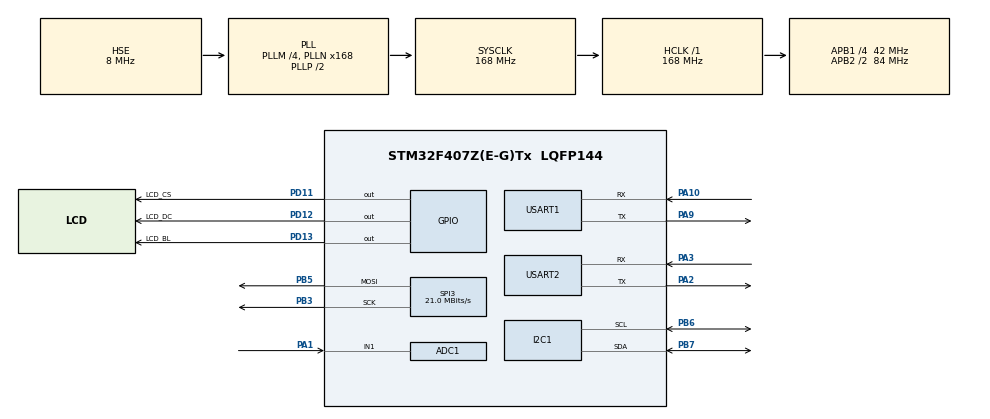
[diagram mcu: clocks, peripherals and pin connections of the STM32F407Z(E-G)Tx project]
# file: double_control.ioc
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ADC1.Channel-0\#ChannelRegularConversion=ADC_CHANNEL_1
ADC1.ContinuousConvMode=DISABLE
ADC1.NbrOfConversionFlag=1
ADC1.Rank-0\#ChannelRegularConversion=1
ADC1.SamplingTime-0\#ChannelRegularConversion=ADC_SAMPLETIME_144CYCLES
ADC1.master=1
Dma.Request0=USART2_RX
Dma.USART2_RX.0.Direction=DMA_PERIPH_TO_MEMORY
Dma.USART2_RX.0.FIFOMode=DMA_FIFOMODE_DISABLE
Dma.USART2_RX.0.Instance=DMA1_Stream5
Dma.USART2_RX.0.MemDataAlignment=DMA_MDATAALIGN_BYTE
Dma.USART2_RX.0.MemInc=DMA_MINC_ENABLE
Dma.USART2_RX.0.Mode=DMA_NORMAL
Dma.USART2_RX.0.PeriphDataAlignment=DMA_PDATAALIGN_BYTE
Dma.USART2_RX.0.PeriphInc=DMA_PINC_DISABLE
Dma.USART2_RX.0.Priority=DMA_PRIORITY_LOW
Mcu.Family=STM32F4
Mcu.Name=STM32F407Z(E-G)Tx
Mcu.Package=LQFP144
NVIC.DMA1_Stream5_IRQn=true\:0\:0\:false\:false\:true\:false\:true\:true
NVIC.PriorityGroup=NVIC_PRIORITYGROUP_4
NVIC.USART2_IRQn=true\:0\:0\:false\:false\:true\:true\:true\:true
PA1.Signal=ADCx_IN1
PA10.Mode=Asynchronous
PA10.Signal=USART1_RX
PA13.Mode=Serial_Wire
PA13.Signal=SYS_JTMS-SWDIO
PA14.Mode=Serial_Wire
PA14.Signal=SYS_JTCK-SWCLK
PA2.Mode=Asynchronous
PA2.Signal=USART2_TX
PA3.Mode=Asynchronous
PA3.Signal=USART2_RX
PA9.Mode=Asynchronous
PA9.Signal=USART1_TX
PB3.Mode=TX_Only_Simplex_Unidirect_Master
PB3.Signal=SPI3_SCK
PB5.Mode=TX_Only_Simplex_Unidirect_Master
PB5.Signal=SPI3_MOSI
PB6.Mode=I2C
PB6.Signal=I2C1_SCL
PB7.Mode=I2C
PB7.Signal=I2C1_SDA
PD11.GPIO_Label=LCD_CS
PD11.Signal=GPIO_Output
PD12.GPIO_Label=LCD_DC
PD12.Signal=GPIO_Output
PD13.GPIO_Label=LCD_BL
PD13.Signal=GPIO_Output
PH0-OSC_IN.Mode=HSE-External-Oscillator
PH0-OSC_IN.Signal=RCC_OSC_IN
PH1-OSC_OUT.Mode=HSE-External-Oscillator
PH1-OSC_OUT.Signal=RCC_OSC_OUT
ProjectManager.HeapSize=0x200
ProjectManager.StackSize=0x400
ProjectManager.TargetToolchain=STM32CubeIDE
RCC.48MHZClocksFreq_Value=84000000
RCC.AHBFreq_Value=168000000
RCC.APB1CLKDivider=RCC_HCLK_DIV4
RCC.APB1Freq_Value=42000000
RCC.APB1TimFreq_Value=84000000
RCC.APB2CLKDivider=RCC_HCLK_DIV2
RCC.APB2Freq_Value=84000000
RCC.APB2TimFreq_Value=168000000
RCC.CortexFreq_Value=168000000
RCC.HCLKFreq_Value=168000000
RCC.HSE_VALUE=8000000
RCC.HSI_VALUE=16000000
RCC.LSE_VALUE=32768
RCC.PLLM=4
RCC.PLLN=168
RCC.PLLSourceVirtual=RCC_PLLSOURCE_HSE
RCC.SYSCLKFreq_VALUE=168000000
RCC.SYSCLKSource=RCC_SYSCLKSOURCE_PLLCLK
RCC.VCOOutputFreq_Value=336000000
SH.ADCx_IN1.0=ADC1_IN1,IN1
SPI3.CalculateBaudRate=21.0 MBits/s
SPI3.Direction=SPI_DIRECTION_2LINES
SPI3.Mode=SPI_MODE_MASTER
SPI3.VirtualType=VM_MASTER
USART1.VirtualMode=VM_ASYNC
USART2.VirtualMode=VM_ASYNC
board=custom

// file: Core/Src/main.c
/* USER CODE BEGIN Header */
/**
  ******************************************************************************
  * @file           : main.c
  * @brief          : Main program body
  ******************************************************************************
  * @attention
  *
  * Copyright (c) 2026 STMicroelectronics.
  * All rights reserved.
  *
  * This software is licensed under terms that can be found in the LICENSE file
  * in the root directory of this software component.
  * If no LICENSE file comes with this software, it is provided AS-IS.
  *
  ******************************************************************************
  */
/* USER CODE END Header */
#include "main.h"

/* USER CODE BEGIN Includes */

#include "lcd_spi_154.h"
#include "pca9685.h"
#include "pwm_timing.h"
#include "truck_control.h"
#include "truck_receiver.h"

#include <stdio.h>
#include <string.h>

/* USER CODE END Includes */

/* USER CODE BEGIN PD */

#define USART2_DMA_RX_SIZE 256U
#define STATUS_TX_BUFFER_SIZE 512U
#define CONTROL_STATUS_PERIOD_MS 100U
#define ADC_SAMPLE_PERIOD_MS 20U
#define ADC_CONVERSION_TIMEOUT_MS 5U
#define ADC_REFERENCE_MV 3300U
#define ADC_FULL_SCALE_COUNT 4095U
#define STEERING_CENTER_MV 1630
#define STEERING_MIN_ANGLE_TENTHS (-300)
#define STEERING_MAX_ANGLE_TENTHS 300
#define TFT_ROW_UPDATE_PERIOD_MS 50U
#define TFT_LINE_CHARS 30U
#define TRUCK_FIRMWARE_ID "double-control-zgt6-tft-1"

/* USER CODE END PD */

ADC_HandleTypeDef hadc1;

I2C_HandleTypeDef hi2c1;

SPI_HandleTypeDef hspi3;

UART_HandleTypeDef huart1;
UART_HandleTypeDef huart2;
DMA_HandleTypeDef hdma_usart2_rx;

/* USER CODE BEGIN PV */

static uint8_t usart2_dma_rx[USART2_DMA_RX_SIZE];
static TruckReceiver truck_receiver;
static TruckCommand latest_command;
static TruckOutputs requested_outputs;
static TruckOutputs truck_outputs;
static TruckEscController drive_esc;
static uint8_t pca9685_ready;
static uint8_t control_received;
static uint8_t control_failsafe_active;
static uint8_t system_ready;
static uint8_t usart2_rx_ready;
static uint8_t last_json_valid;
static uint8_t last_rx_field_mask;
static uint8_t pca_pwm_cache_valid;
static uint8_t adc_conversion_active;
static uint8_t steering_feedback_valid;
static uint8_t button_override_active;
static uint8_t tft_ready;
static uint8_t tft_next_row;
static uint16_t pca_pwm_cache[TRUCK_OUTPUT_CHANNELS];
static uint16_t steering_adc_raw;
static uint16_t steering_voltage_mv;
static int16_t vehicle_steering_angle_tenths;
static HAL_StatusTypeDef last_control_i2c_status = HAL_ERROR;
static uint32_t last_valid_control_tick;
static uint32_t last_periodic_status_tick;
static uint32_t valid_frame_count;
static uint32_t invalid_frame_count;
static uint32_t last_adc_sample_tick;
static uint32_t last_adc_start_tick;
static uint32_t button_override_tick;
static uint32_t last_tft_update_tick;
static volatile uint8_t usart2_restart_requested;
static volatile uint8_t usart2_tx_busy;
static char status_tx_buffer[STATUS_TX_BUFFER_SIZE];

/* USER CODE END PV */

void SystemClock_Config(void);
static void MX_GPIO_Init(void);
static void MX_DMA_Init(void);
static void MX_I2C1_Init(void);
static void MX_USART1_UART_Init(void);
static void MX_USART2_UART_Init(void);
static void MX_ADC1_Init(void);
static void MX_SPI3_Init(void);
/* USER CODE BEGIN PFP */

static HAL_StatusTypeDef USART2_StartReceiveToIdle(void);
static HAL_StatusTypeDef ApplyServoTargets(
    const TruckOutputs *outputs);
static void SendControlStatus(const char *status,
                              HAL_StatusTypeDef i2c_status);
static void SendPeriodicControlStatus(const char *status,
                                      HAL_StatusTypeDef i2c_status,
                                      uint32_t now_ms);
static void FormatUnitValue(char *buffer, size_t size, float value);
static void FormatSignedUnitValue(char *buffer, size_t size, float value);
static void ProcessReceivedFrames(void);
static void ServiceButtonOverride(void);
static void ServiceEscState(void);
static void ServiceControlFailsafe(void);
static void ServiceUsart2Restart(void);
static void ServiceSteeringFeedback(uint32_t now_ms);
static void ServiceControlStatus(uint32_t now_ms);
static void ServiceTft(uint32_t now_ms);

/* USER CODE END PFP */

/* USER CODE BEGIN 0 */

static HAL_StatusTypeDef USART2_StartReceiveToIdle(void)
{
  HAL_StatusTypeDef status;

  status = HAL_UARTEx_ReceiveToIdle_DMA(&huart2, usart2_dma_rx,
                                       sizeof(usart2_dma_rx));
  if (status == HAL_OK)
  {
    __HAL_DMA_DISABLE_IT(huart2.hdmarx, DMA_IT_HT);
    usart2_rx_ready = 1U;
  }
  else
  {
    usart2_rx_ready = 0U;
  }
  return status;
}

static HAL_StatusTypeDef ApplyServoTargets(
    const TruckOutputs *outputs)
{
  uint8_t channel;

  if (outputs == NULL)
  {
    return HAL_ERROR;
  }

  if (pca9685_ready == 0U)
  {
    if (Pca9685_Init(&hi2c1) != HAL_OK)
    {
      pca_pwm_cache_valid = 0U;
      return HAL_ERROR;
    }
    pca9685_ready = 1U;
    pca_pwm_cache_valid = 0U;
  }

  for (channel = 0U; channel < TRUCK_OUTPUT_CHANNELS; ++channel)
  {
    if (!TruckControl_IsActiveChannel(channel))
    {
      continue;
    }
    if ((pca_pwm_cache_valid != 0U) &&
        (pca_pwm_cache[channel] == outputs->pwm_count[channel]))
    {
      continue;
    }

    if (Pca9685_SetPwm(&hi2c1, channel, 0U,
                       outputs->pwm_count[channel]) != HAL_OK)
    {
      pca9685_ready = 0U;
      pca_pwm_cache_valid = 0U;
      return HAL_ERROR;
    }
    pca_pwm_cache[channel] = outputs->pwm_count[channel];
  }

  pca_pwm_cache_valid = 1U;
  return HAL_OK;
}

static int16_t SteeringCommandToTenths(float angle_deg)
{
  float scaled;

  if (angle_deg < TRUCK_STEERING_MIN_DEG)
  {
    angle_deg = TRUCK_STEERING_MIN_DEG;
  }
  else if (angle_deg > TRUCK_STEERING_MAX_DEG)
  {
    angle_deg = TRUCK_STEERING_MAX_DEG;
  }

  scaled = angle_deg * 10.0f;
  return (int16_t)((scaled >= 0.0f) ?
                   (scaled + 0.5f) : (scaled - 0.5f));
}

static void FormatSignedTenths(char *buffer,
                               size_t size,
                               int16_t tenths)
{
  const uint16_t magnitude = (uint16_t)((tenths < 0) ?
      -(int32_t)tenths : tenths);

  (void)snprintf(buffer, size, "%s%u.%u",
                 (tenths < 0) ? "-" : "",
                 (unsigned int)(magnitude / 10U),
                 (unsigned int)(magnitude % 10U));
}

static void SendControlStatus(const char *status,
                              HAL_StatusTypeDef i2c_status)
{
  char command_angle[9];
  char current_angle[9];
  char received_throttle[8];
  char received_brake[8];
  int length;

  if ((status == NULL) || (usart2_tx_busy != 0U))
  {
    return;
  }

  FormatSignedTenths(command_angle, sizeof(command_angle),
                     SteeringCommandToTenths(latest_command.steering));
  if (steering_feedback_valid != 0U)
  {
    FormatSignedTenths(current_angle, sizeof(current_angle),
                       vehicle_steering_angle_tenths);
  }
  else
  {
    (void)snprintf(current_angle, sizeof(current_angle), "null");
  }
  FormatSignedUnitValue(received_throttle, sizeof(received_throttle),
                        latest_command.throttle);
  FormatUnitValue(received_brake, sizeof(received_brake),
                  latest_command.brake);

  length = snprintf(
      status_tx_buffer, sizeof(status_tx_buffer),
      "{\"type\":\"truck\",\"timestamp_ms\":%lu,"
      "\"status\":\"%s\",\"i2c\":%u,"
      "\"fw\":\"" TRUCK_FIRMWARE_ID "\","
      "\"rx_mask\":%u,\"input\":%u,\"up\":%u,\"down\":%u,"
      "\"feedback_valid\":%u,"
      "\"control_steering_deg\":%s,"
      "\"current_steering_deg\":%s,"
      "\"sensor_steering_deg\":%s,"
      "\"motor_speed_percent\":%d,"
      "\"bucket_angle_deg\":0.0,"
      "\"received_steering_deg\":%s,"
      "\"received_throttle\":%s,"
      "\"received_brake\":%s,"
      "\"throttle_percent\":%d,\"brake_percent\":%d,"
      "\"drive_percent\":%d,\"esc\":%u,"
      "\"pwm\":[%u,%u,%u]}\r\n",
      (unsigned long)HAL_GetTick(),
      status,
      (i2c_status == HAL_OK) ? 1U : 0U,
      (unsigned int)last_rx_field_mask,
      (unsigned int)latest_command.format,
      (unsigned int)latest_command.up,
      (unsigned int)latest_command.down,
      (unsigned int)steering_feedback_valid,
      command_angle,
      current_angle,
      current_angle,
      (int)truck_outputs.drive_percent,
      command_angle,
      received_throttle,
      received_brake,
      (int)truck_outputs.throttle_percent,
      (int)truck_outputs.brake_percent,
      (int)truck_outputs.drive_percent,
      (unsigned int)drive_esc.state,
      (unsigned int)truck_outputs.pwm_count[0],
      (unsigned int)truck_outputs.pwm_count[1],
      (unsigned int)truck_outputs.pwm_count[2]);
  if ((length <= 0) || ((size_t)length >= sizeof(status_tx_buffer)))
  {
    return;
  }

  usart2_tx_busy = 1U;
  if (HAL_UART_Transmit_IT(&huart2, (uint8_t *)status_tx_buffer,
                           (uint16_t)length) != HAL_OK)
  {
    usart2_tx_busy = 0U;
  }
}

static void SendPeriodicControlStatus(const char *status,
                                      HAL_StatusTypeDef i2c_status,
                                      uint32_t now_ms)
{
  if ((uint32_t)(now_ms - last_periodic_status_tick) <
      CONTROL_STATUS_PERIOD_MS)
  {
    return;
  }

  last_periodic_status_tick = now_ms;
  SendControlStatus(status, i2c_status);
}

static void UpdateEscFilteredOutputs(uint32_t now_ms)
{
  int16_t filtered_drive;

  truck_outputs = requested_outputs;
  filtered_drive = TruckEsc_Update(&drive_esc,
                                    requested_outputs.drive_percent,
                                    now_ms);
  TruckControl_SetDrivePercent(&truck_outputs, filtered_drive);
}

static void ProcessReceivedFrames(void)
{
  char frame[TRUCK_FRAME_MAX_LEN];
  uint8_t received_valid_frame = 0U;
  uint8_t received_invalid_frame = 0U;
  uint32_t now_ms = HAL_GetTick();

  while (TruckReceiver_Pop(&truck_receiver, frame, sizeof(frame)))
  {
    TruckCommand update;
    TruckCommand normalized;
    TruckCommandFormat input_format;
    uint8_t field_mask;
    const uint8_t analog_mask = (uint8_t)TRUCK_FIELD_CONTROL;
    const uint8_t button_mask = (uint8_t)(TRUCK_FIELD_UP |
                                          TRUCK_FIELD_DOWN);

    if (!TruckReceiver_ParseJsonUpdate(frame, &update, &field_mask) ||
        (((field_mask & analog_mask) != 0U) &&
         ((field_mask & analog_mask) != analog_mask)))
    {
      invalid_frame_count++;
      last_json_valid = 0U;
      received_invalid_frame = 1U;
      continue;
    }

    input_format = update.format;
    now_ms = HAL_GetTick();

    if (update.format == TRUCK_COMMAND_LOGI_RAW)
    {
      if ((field_mask & analog_mask) != analog_mask)
      {
        invalid_frame_count++;
        last_json_valid = 0U;
        received_invalid_frame = 1U;
        continue;
      }
      TruckControl_NormalizeRawCommand(&update, &normalized);
      update = normalized;
    }

    if ((field_mask & TRUCK_FIELD_STEERING) != 0U)
    {
      latest_command.steering = update.steering;
    }
    if ((field_mask & TRUCK_FIELD_THROTTLE) != 0U)
    {
      latest_command.throttle = update.throttle;
    }
    if ((field_mask & TRUCK_FIELD_BRAKE) != 0U)
    {
      latest_command.brake = update.brake;
    }
    if ((field_mask & TRUCK_FIELD_UP) != 0U)
    {
      latest_command.up = update.up;
      if (update.up != 0U)
      {
        latest_command.down = 0U;
      }
    }
    if ((field_mask & TRUCK_FIELD_DOWN) != 0U)
    {
      latest_command.down = update.down;
      if (update.down != 0U)
      {
        latest_command.up = 0U;
      }
    }

    if (((field_mask & analog_mask) == 0U) &&
        ((field_mask & button_mask) != 0U))
    {
      button_override_active =
          ((latest_command.up != 0U) || (latest_command.down != 0U)) ?
          1U : 0U;
      button_override_tick = now_ms;
    }
    else if ((field_mask & button_mask) != 0U)
    {
      button_override_active = 0U;
    }

    valid_frame_count++;
    last_json_valid = 1U;
    last_rx_field_mask = field_mask;
    now_ms = HAL_GetTick();
    latest_command.format = input_format;
    received_valid_frame = 1U;
  }

  if (received_valid_frame != 0U)
  {
    HAL_StatusTypeDef i2c_status;

    now_ms = HAL_GetTick();
    TruckControl_MapCommand(&latest_command, &requested_outputs);
    UpdateEscFilteredOutputs(now_ms);
    i2c_status = ApplyServoTargets(&truck_outputs);
    last_control_i2c_status = i2c_status;
    last_valid_control_tick = now_ms;
    control_received = 1U;
    control_failsafe_active = 0U;
    SendPeriodicControlStatus("applied", i2c_status, now_ms);
  }
  else if (received_invalid_frame != 0U)
  {
    SendPeriodicControlStatus("invalid_json", HAL_ERROR, HAL_GetTick());
  }
}

static void ServiceButtonOverride(void)
{
  HAL_StatusTypeDef i2c_status;
  uint32_t now_ms;

  if (button_override_active == 0U)
  {
    return;
  }

  now_ms = HAL_GetTick();
  if ((uint32_t)(now_ms - button_override_tick) <=
      TRUCK_BUTTON_OVERRIDE_TIMEOUT_MS)
  {
    return;
  }

  button_override_active = 0U;
  latest_command.up = 0U;
  latest_command.down = 0U;
  TruckControl_MapCommand(&latest_command, &requested_outputs);
  UpdateEscFilteredOutputs(now_ms);
  i2c_status = ApplyServoTargets(&truck_outputs);
  last_control_i2c_status = i2c_status;
  SendControlStatus("button_timeout", i2c_status);
}

static void ServiceEscState(void)
{
  const uint16_t previous_drive_pwm =
      truck_outputs.pwm_count[TRUCK_CHANNEL_DRIVE];
  const TruckEscState previous_state = drive_esc.state;
  HAL_StatusTypeDef i2c_status;

  UpdateEscFilteredOutputs(HAL_GetTick());
  if ((truck_outputs.pwm_count[TRUCK_CHANNEL_DRIVE] ==
       previous_drive_pwm) &&
      (drive_esc.state == previous_state))
  {
    return;
  }

  i2c_status = ApplyServoTargets(&truck_outputs);
  last_control_i2c_status = i2c_status;
  SendControlStatus("esc_state", i2c_status);
}

static void ServiceControlFailsafe(void)
{
  HAL_StatusTypeDef i2c_status;

  if ((control_received == 0U) || (control_failsafe_active != 0U) ||
      !TruckControl_IsTimedOut(HAL_GetTick(), last_valid_control_tick))
  {
    return;
  }

  TruckControl_SetNeutral(&requested_outputs);
  TruckEsc_Reset(&drive_esc);
  truck_outputs = requested_outputs;
  i2c_status = ApplyServoTargets(&truck_outputs);
  last_control_i2c_status = i2c_status;
  control_failsafe_active = 1U;
  SendControlStatus("failsafe", i2c_status);
}

static void ServiceUsart2Restart(void)
{
  if (usart2_restart_requested == 0U)
  {
    return;
  }

  usart2_restart_requested = 0U;
  (void)HAL_UART_AbortReceive(&huart2);
  if (USART2_StartReceiveToIdle() != HAL_OK)
  {
    usart2_restart_requested = 1U;
  }
}

static void ServiceSteeringFeedback(uint32_t now_ms)
{
  uint32_t voltage_mv;
  int32_t angle_tenths;

  if (adc_conversion_active == 0U)
  {
    if ((uint32_t)(now_ms - last_adc_sample_tick) < ADC_SAMPLE_PERIOD_MS)
    {
      return;
    }

    last_adc_sample_tick = now_ms;
    __HAL_ADC_CLEAR_FLAG(&hadc1, ADC_FLAG_EOC | ADC_FLAG_OVR);
    ADC1->CR2 |= ADC_CR2_SWSTART;
    last_adc_start_tick = now_ms;
    adc_conversion_active = 1U;
    return;
  }

  if ((ADC1->SR & ADC_SR_EOC) == 0U)
  {
    if ((uint32_t)(now_ms - last_adc_start_tick) >=
        ADC_CONVERSION_TIMEOUT_MS)
    {
      /* Recover without blocking if a conversion never reaches EOC. */
      __HAL_ADC_DISABLE(&hadc1);
      __HAL_ADC_CLEAR_FLAG(&hadc1, ADC_FLAG_EOC | ADC_FLAG_OVR);
      __HAL_ADC_ENABLE(&hadc1);
      adc_conversion_active = 0U;
      steering_feedback_valid = 0U;
      last_adc_sample_tick = now_ms;
    }
    return;
  }

  steering_adc_raw = (uint16_t)ADC1->DR;
  adc_conversion_active = 0U;

  voltage_mv = ((uint32_t)steering_adc_raw * ADC_REFERENCE_MV +
                ADC_FULL_SCALE_COUNT / 2U) / ADC_FULL_SCALE_COUNT;
  steering_voltage_mv = (uint16_t)voltage_mv;

  /*
   * Calibration:
   * 1330 mV -> -30.0 deg, 1630 mV -> 0.0 deg,
   * 1930 mV -> +30.0 deg. Therefore 1 mV equals 0.1 degree.
   */
  angle_tenths = (int32_t)steering_voltage_mv - STEERING_CENTER_MV;
  if (angle_tenths < STEERING_MIN_ANGLE_TENTHS)
  {
    angle_tenths = STEERING_MIN_ANGLE_TENTHS;
  }
  else if (angle_tenths > STEERING_MAX_ANGLE_TENTHS)
  {
    angle_tenths = STEERING_MAX_ANGLE_TENTHS;
  }

  vehicle_steering_angle_tenths = (int16_t)angle_tenths;
  steering_feedback_valid = 1U;
}

static void ServiceControlStatus(uint32_t now_ms)
{
  const char *status;

  if (control_received == 0U)
  {
    status = "waiting";
  }
  else if (control_failsafe_active != 0U)
  {
    status = "failsafe";
  }
  else
  {
    status = "applied";
  }

  SendPeriodicControlStatus(status, last_control_i2c_status, now_ms);
}

static void TftWriteLine(uint8_t row, uint32_t color, const char *text)
{
  char padded[TFT_LINE_CHARS + 1U];
  size_t length = 0U;

  memset(padded, ' ', TFT_LINE_CHARS);
  padded[TFT_LINE_CHARS] = '\0';
  if (text != NULL)
  {
    length = strlen(text);
    if (length > TFT_LINE_CHARS)
    {
      length = TFT_LINE_CHARS;
    }
    memcpy(padded, text, length);
  }

  LCD_SetColor(color);
  LCD_DisplayString(0U, (uint16_t)(8U + (uint16_t)row * 28U), padded);
}

static void TftDrawRow(uint8_t row)
{
  char line[48];
  char command_angle[9];
  char current_angle[9];
  const char *control_state;
  uint32_t state_color;

  if (control_received == 0U)
  {
    control_state = "WAITING";
    state_color = LCD_YELLOW;
  }
  else if (control_failsafe_active != 0U)
  {
    control_state = "FAILSAFE";
    state_color = LCD_RED;
  }
  else
  {
    control_state = "APPLIED";
    state_color = LCD_GREEN;
  }

  switch (row)
  {
    case 0U:
      (void)snprintf(line, sizeof(line), "TRUCK CONTROL  %s",
                     control_state);
      TftWriteLine(row, state_color, line);
      break;

    case 1U:
      FormatSignedTenths(command_angle, sizeof(command_angle),
                         SteeringCommandToTenths(
                             latest_command.steering));
      (void)snprintf(line, sizeof(line), "CMD ANG: %s deg",
                     command_angle);
      TftWriteLine(row, LCD_CYAN, line);
      break;

    case 2U:
      if (steering_feedback_valid != 0U)
      {
        FormatSignedTenths(current_angle, sizeof(current_angle),
                           vehicle_steering_angle_tenths);
      }
      else
      {
        (void)snprintf(current_angle, sizeof(current_angle), "--.-");
      }
      (void)snprintf(line, sizeof(line), "CUR ANG: %s deg",
                     current_angle);
      TftWriteLine(row,
                   (steering_feedback_valid != 0U) ?
                   LCD_GREEN : LCD_YELLOW,
                   line);
      break;

    case 3U:
      if (steering_feedback_valid != 0U)
      {
        (void)snprintf(line, sizeof(line), "PA1: %u.%03u V",
                       (unsigned int)(steering_voltage_mv / 1000U),
                       (unsigned int)(steering_voltage_mv % 1000U));
      }
      else
      {
        (void)snprintf(line, sizeof(line), "PA1: ---- V");
      }
      TftWriteLine(row, LCD_WHITE, line);
      break;

    case 4U:
      (void)snprintf(line, sizeof(line), "T:%d B:%d D:%d L:%d",
                     (int)truck_outputs.throttle_percent,
                     (int)truck_outputs.brake_percent,
                     (int)truck_outputs.drive_percent,
                     (int)truck_outputs.lift_percent);
      TftWriteLine(row, LCD_WHITE, line);
      break;

    case 5U:
      (void)snprintf(
          line, sizeof(line), "PWM S:%u D:%u L:%u",
          (unsigned int)truck_outputs.pwm_count[TRUCK_CHANNEL_STEERING],
          (unsigned int)truck_outputs.pwm_count[TRUCK_CHANNEL_DRIVE],
          (unsigned int)truck_outputs.pwm_count[TRUCK_CHANNEL_LIFT]);
      TftWriteLine(row, LCD_YELLOW, line);
      break;

    case 6U:
      (void)snprintf(
          line, sizeof(line), "U2:%s PCA:%s I2C:%s",
          usart2_rx_ready ? "OK" : "NO",
          pca9685_ready ? "OK" : "NO",
          (last_control_i2c_status == HAL_OK) ? "OK" : "NO");
      TftWriteLine(
          row,
          ((usart2_rx_ready != 0U) && (pca9685_ready != 0U) &&
           (last_control_i2c_status == HAL_OK)) ? LCD_GREEN : LCD_RED,
          line);
      break;

    default:
      (void)snprintf(line, sizeof(line), "RX:%lu BAD:%lu ESC:%u",
                     (unsigned long)valid_frame_count,
                     (unsigned long)invalid_frame_count,
                     (unsigned int)drive_esc.state);
      TftWriteLine(row,
                   (last_json_valid != 0U) ? LCD_GREEN : LCD_YELLOW,
                   line);
      break;
  }
}

static void ServiceTft(uint32_t now_ms)
{
  if ((tft_ready == 0U) ||
      ((uint32_t)(now_ms - last_tft_update_tick) <
       TFT_ROW_UPDATE_PERIOD_MS))
  {
    return;
  }

  last_tft_update_tick = now_ms;
  TftDrawRow(tft_next_row);
  tft_next_row = (uint8_t)((tft_next_row + 1U) % 8U);
}

static void FormatUnitValue(char *buffer, size_t size, float value)
{
  uint32_t milli;

  if (value < 0.0f)
  {
    value = 0.0f;
  }
  else if (value > 1.0f)
  {
    value = 1.0f;
  }
  milli = (uint32_t)(value * 1000.0f + 0.5f);

  (void)snprintf(buffer, size, "%lu.%03lu",
                 (unsigned long)(milli / 1000U),
                 (unsigned long)(milli % 1000U));
}

static void FormatSignedUnitValue(char *buffer, size_t size, float value)
{
  int32_t milli;
  uint32_t magnitude;

  if (value < -1.0f)
  {
    value = -1.0f;
  }
  else if (value > 1.0f)
  {
    value = 1.0f;
  }

  milli = (int32_t)((value >= 0.0f) ?
                    (value * 1000.0f + 0.5f) :
                    (value * 1000.0f - 0.5f));
  magnitude = (uint32_t)((milli < 0) ? -milli : milli);

  (void)snprintf(buffer, size, "%s%lu.%03lu",
                 (milli < 0) ? "-" : "",
                 (unsigned long)(magnitude / 1000U),
                 (unsigned long)(magnitude % 1000U));
}

/* USER CODE END 0 */

int main(void)
{

  /* MCU Configuration--------------------------------------------------------*/

  /* Reset of all peripherals, Initializes the Flash interface and the Systick. */
  HAL_Init();

  /* Configure the system clock */
  SystemClock_Config();

  /* Initialize all configured peripherals */
  MX_GPIO_Init();
  MX_DMA_Init();
  MX_I2C1_Init();
  MX_USART1_UART_Init();
  MX_USART2_UART_Init();
  MX_ADC1_Init();
  MX_SPI3_Init();
  /* USER CODE BEGIN 2 */

  TruckReceiver_Init(&truck_receiver);
  latest_command.steering = 0.0f;
  latest_command.throttle = 0.0f;
  latest_command.brake = 0.0f;
  latest_command.up = 0U;
  latest_command.down = 0U;
  latest_command.format = TRUCK_COMMAND_DIRECT;
  TruckControl_SetNeutral(&requested_outputs);
  TruckEsc_Init(&drive_esc);
  truck_outputs = requested_outputs;
  last_control_i2c_status = ApplyServoTargets(&truck_outputs);

  SPI_LCD_Init();
  tft_ready = 1U;
  tft_next_row = 0U;
  last_tft_update_tick = HAL_GetTick() - TFT_ROW_UPDATE_PERIOD_MS;

  if (USART2_StartReceiveToIdle() != HAL_OK)
  {
    Error_Handler();
  }
  last_periodic_status_tick = HAL_GetTick() - CONTROL_STATUS_PERIOD_MS;
  last_adc_sample_tick = HAL_GetTick() - ADC_SAMPLE_PERIOD_MS;
  system_ready = 1U;
  SendControlStatus("ready", last_control_i2c_status);

  /* USER CODE END 2 */

  /* Infinite loop */
  /* USER CODE BEGIN WHILE */
  while (1)
  {
    ProcessReceivedFrames();
    ServiceButtonOverride();
    ServiceEscState();
    ServiceControlFailsafe();
    ServiceUsart2Restart();
    ServiceSteeringFeedback(HAL_GetTick());
    ServiceControlStatus(HAL_GetTick());
    ServiceTft(HAL_GetTick());

    /* USER CODE END WHILE */

  }
}

void SystemClock_Config(void)
{
  RCC_OscInitTypeDef RCC_OscInitStruct = {0};
  RCC_ClkInitTypeDef RCC_ClkInitStruct = {0};

  /** Configure the main internal regulator output voltage
  */
  __HAL_RCC_PWR_CLK_ENABLE();
  __HAL_PWR_VOLTAGESCALING_CONFIG(PWR_REGULATOR_VOLTAGE_SCALE1);

  /** Initializes the RCC Oscillators according to the specified parameters
  * in the RCC_OscInitTypeDef structure.
  */
  RCC_OscInitStruct.OscillatorType = RCC_OSCILLATORTYPE_HSE;
  RCC_OscInitStruct.HSEState = RCC_HSE_ON;
  RCC_OscInitStruct.PLL.PLLState = RCC_PLL_ON;
  RCC_OscInitStruct.PLL.PLLSource = RCC_PLLSOURCE_HSE;
  RCC_OscInitStruct.PLL.PLLM = 4;
  RCC_OscInitStruct.PLL.PLLN = 168;
  RCC_OscInitStruct.PLL.PLLP = RCC_PLLP_DIV2;
  RCC_OscInitStruct.PLL.PLLQ = 4;
  if (HAL_RCC_OscConfig(&RCC_OscInitStruct) != HAL_OK)
  {
    Error_Handler();
  }

  /** Initializes the CPU, AHB and APB buses clocks
  */
  RCC_ClkInitStruct.ClockType = RCC_CLOCKTYPE_HCLK|RCC_CLOCKTYPE_SYSCLK
                              |RCC_CLOCKTYPE_PCLK1|RCC_CLOCKTYPE_PCLK2;
  RCC_ClkInitStruct.SYSCLKSource = RCC_SYSCLKSOURCE_PLLCLK;
  RCC_ClkInitStruct.AHBCLKDivider = RCC_SYSCLK_DIV1;
  RCC_ClkInitStruct.APB1CLKDivider = RCC_HCLK_DIV4;
  RCC_ClkInitStruct.APB2CLKDivider = RCC_HCLK_DIV2;

  if (HAL_RCC_ClockConfig(&RCC_ClkInitStruct, FLASH_LATENCY_5) != HAL_OK)
  {
    Error_Handler();
  }
}

static void MX_ADC1_Init(void)
{

  ADC_ChannelConfTypeDef sConfig = {0};

  /** Configure the global features of the ADC (Clock, Resolution, Data Alignment and number of conversion)
  */
  hadc1.Instance = ADC1;
  hadc1.Init.ClockPrescaler = ADC_CLOCK_SYNC_PCLK_DIV4;
  hadc1.Init.Resolution = ADC_RESOLUTION_12B;
  hadc1.Init.ScanConvMode = DISABLE;
  hadc1.Init.ContinuousConvMode = DISABLE;
  hadc1.Init.DiscontinuousConvMode = DISABLE;
  hadc1.Init.ExternalTrigConvEdge = ADC_EXTERNALTRIGCONVEDGE_NONE;
  hadc1.Init.ExternalTrigConv = ADC_SOFTWARE_START;
  hadc1.Init.DataAlign = ADC_DATAALIGN_RIGHT;
  hadc1.Init.NbrOfConversion = 1;
  hadc1.Init.DMAContinuousRequests = DISABLE;
  hadc1.Init.EOCSelection = ADC_EOC_SINGLE_CONV;
  if (HAL_ADC_Init(&hadc1) != HAL_OK)
  {
    Error_Handler();
  }

  /** Configure for the selected ADC regular channel its corresponding rank in the sequencer and its sample time.
  */
  sConfig.Channel = ADC_CHANNEL_1;
  sConfig.Rank = 1;
  sConfig.SamplingTime = ADC_SAMPLETIME_144CYCLES;
  if (HAL_ADC_ConfigChannel(&hadc1, &sConfig) != HAL_OK)
  {
    Error_Handler();
  }
  /* USER CODE BEGIN ADC1_Init 2 */

  /* HAL_ADC_Init configures ADC1 but does not set CR2.ADON. */
  __HAL_ADC_CLEAR_FLAG(&hadc1, ADC_FLAG_EOC | ADC_FLAG_OVR);
  __HAL_ADC_ENABLE(&hadc1);

  /* USER CODE END ADC1_Init 2 */

}

static void MX_I2C1_Init(void)
{

  hi2c1.Instance = I2C1;
  hi2c1.Init.ClockSpeed = 100000;
  hi2c1.Init.DutyCycle = I2C_DUTYCYCLE_2;
  hi2c1.Init.OwnAddress1 = 0;
  hi2c1.Init.AddressingMode = I2C_ADDRESSINGMODE_7BIT;
  hi2c1.Init.DualAddressMode = I2C_DUALADDRESS_DISABLE;
  hi2c1.Init.OwnAddress2 = 0;
  hi2c1.Init.GeneralCallMode = I2C_GENERALCALL_DISABLE;
  hi2c1.Init.NoStretchMode = I2C_NOSTRETCH_DISABLE;
  if (HAL_I2C_Init(&hi2c1) != HAL_OK)
  {
    Error_Handler();
  }

}

static void MX_SPI3_Init(void)
{

  /* SPI3 parameter configuration*/
  hspi3.Instance = SPI3;
  hspi3.Init.Mode = SPI_MODE_MASTER;
  hspi3.Init.Direction = SPI_DIRECTION_2LINES;
  hspi3.Init.DataSize = SPI_DATASIZE_8BIT;
  hspi3.Init.CLKPolarity = SPI_POLARITY_LOW;
  hspi3.Init.CLKPhase = SPI_PHASE_1EDGE;
  hspi3.Init.NSS = SPI_NSS_SOFT;
  hspi3.Init.BaudRatePrescaler = SPI_BAUDRATEPRESCALER_2;
  hspi3.Init.FirstBit = SPI_FIRSTBIT_MSB;
  hspi3.Init.TIMode = SPI_TIMODE_DISABLE;
  hspi3.Init.CRCCalculation = SPI_CRCCALCULATION_DISABLE;
  hspi3.Init.CRCPolynomial = 10;
  if (HAL_SPI_Init(&hspi3) != HAL_OK)
  {
    Error_Handler();
  }

}

static void MX_USART1_UART_Init(void)
{

  huart1.Instance = USART1;
  huart1.Init.BaudRate = 115200;
  huart1.Init.WordLength = UART_WORDLENGTH_8B;
  huart1.Init.StopBits = UART_STOPBITS_1;
  huart1.Init.Parity = UART_PARITY_NONE;
  huart1.Init.Mode = UART_MODE_TX_RX;
  huart1.Init.HwFlowCtl = UART_HWCONTROL_NONE;
  huart1.Init.OverSampling = UART_OVERSAMPLING_16;
  if (HAL_UART_Init(&huart1) != HAL_OK)
  {
    Error_Handler();
  }

}

static void MX_USART2_UART_Init(void)
{

  huart2.Instance = USART2;
  huart2.Init.BaudRate = 115200;
  huart2.Init.WordLength = UART_WORDLENGTH_8B;
  huart2.Init.StopBits = UART_STOPBITS_1;
  huart2.Init.Parity = UART_PARITY_NONE;
  huart2.Init.Mode = UART_MODE_TX_RX;
  huart2.Init.HwFlowCtl = UART_HWCONTROL_NONE;
  huart2.Init.OverSampling = UART_OVERSAMPLING_16;
  if (HAL_UART_Init(&huart2) != HAL_OK)
  {
    Error_Handler();
  }

}

static void MX_DMA_Init(void)
{

  /* DMA controller clock enable */
  __HAL_RCC_DMA1_CLK_ENABLE();

  /* DMA interrupt init */
  /* DMA1_Stream5_IRQn interrupt configuration */
  HAL_NVIC_SetPriority(DMA1_Stream5_IRQn, 0, 0);
  HAL_NVIC_EnableIRQ(DMA1_Stream5_IRQn);

}

static void MX_GPIO_Init(void)
{
  GPIO_InitTypeDef GPIO_InitStruct = {0};

  /* GPIO Ports Clock Enable */
  __HAL_RCC_GPIOH_CLK_ENABLE();
  __HAL_RCC_GPIOA_CLK_ENABLE();
  __HAL_RCC_GPIOD_CLK_ENABLE();
  __HAL_RCC_GPIOB_CLK_ENABLE();

  /*Configure GPIO pin Output Level */
  HAL_GPIO_WritePin(GPIOD, LCD_CS_Pin|LCD_DC_Pin|LCD_BL_Pin, GPIO_PIN_RESET);

  /*Configure GPIO pins : LCD_CS_Pin LCD_DC_Pin LCD_BL_Pin */
  GPIO_InitStruct.Pin = LCD_CS_Pin|LCD_DC_Pin|LCD_BL_Pin;
  GPIO_InitStruct.Mode = GPIO_MODE_OUTPUT_PP;
  GPIO_InitStruct.Pull = GPIO_NOPULL;
  GPIO_InitStruct.Speed = GPIO_SPEED_FREQ_LOW;
  HAL_GPIO_Init(GPIOD, &GPIO_InitStruct);

}

/* USER CODE BEGIN 4 */

void HAL_UART_TxCpltCallback(UART_HandleTypeDef *huart)
{
  if (huart->Instance == USART2)
  {
    usart2_tx_busy = 0U;
  }
}

void HAL_UARTEx_RxEventCallback(UART_HandleTypeDef *huart, uint16_t Size)
{
  if (huart->Instance == USART2)
  {
    TruckReceiver_FeedFromIsr(&truck_receiver, usart2_dma_rx, Size);
    if (USART2_StartReceiveToIdle() != HAL_OK)
    {
      usart2_restart_requested = 1U;
    }
  }
}

void HAL_UART_ErrorCallback(UART_HandleTypeDef *huart)
{
  if (huart->Instance == USART2)
  {
    usart2_rx_ready = 0U;
    usart2_restart_requested = 1U;
  }
}

/* USER CODE END 4 */

void Error_Handler(void)
{
  __disable_irq();
  while (1)
  {
  }
}
